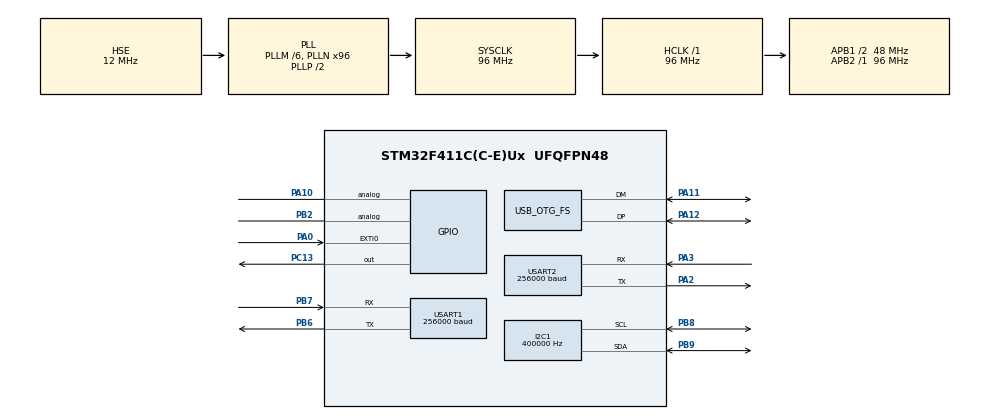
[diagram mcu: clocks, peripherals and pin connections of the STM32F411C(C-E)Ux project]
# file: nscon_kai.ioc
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Dma.I2C1_RX.0.Direction=DMA_PERIPH_TO_MEMORY
Dma.I2C1_RX.0.FIFOMode=DMA_FIFOMODE_DISABLE
Dma.I2C1_RX.0.Instance=DMA1_Stream0
Dma.I2C1_RX.0.MemDataAlignment=DMA_MDATAALIGN_BYTE
Dma.I2C1_RX.0.MemInc=DMA_MINC_ENABLE
Dma.I2C1_RX.0.Mode=DMA_NORMAL
Dma.I2C1_RX.0.PeriphDataAlignment=DMA_PDATAALIGN_BYTE
Dma.I2C1_RX.0.PeriphInc=DMA_PINC_DISABLE
Dma.I2C1_RX.0.Priority=DMA_PRIORITY_LOW
Dma.I2C1_TX.1.Direction=DMA_MEMORY_TO_PERIPH
Dma.I2C1_TX.1.FIFOMode=DMA_FIFOMODE_DISABLE
Dma.I2C1_TX.1.Instance=DMA1_Stream1
Dma.I2C1_TX.1.MemDataAlignment=DMA_MDATAALIGN_BYTE
Dma.I2C1_TX.1.MemInc=DMA_MINC_ENABLE
Dma.I2C1_TX.1.Mode=DMA_NORMAL
Dma.I2C1_TX.1.PeriphDataAlignment=DMA_PDATAALIGN_BYTE
Dma.I2C1_TX.1.PeriphInc=DMA_PINC_DISABLE
Dma.I2C1_TX.1.Priority=DMA_PRIORITY_LOW
Dma.Request0=I2C1_RX
Dma.Request1=I2C1_TX
Dma.Request2=USART1_RX
Dma.Request3=USART1_TX
Dma.Request4=USART2_RX
Dma.Request5=USART2_TX
Dma.USART1_RX.2.Direction=DMA_PERIPH_TO_MEMORY
Dma.USART1_RX.2.FIFOMode=DMA_FIFOMODE_DISABLE
Dma.USART1_RX.2.Instance=DMA2_Stream2
Dma.USART1_RX.2.MemDataAlignment=DMA_MDATAALIGN_BYTE
Dma.USART1_RX.2.MemInc=DMA_MINC_ENABLE
Dma.USART1_RX.2.Mode=DMA_NORMAL
Dma.USART1_RX.2.PeriphDataAlignment=DMA_PDATAALIGN_BYTE
Dma.USART1_RX.2.PeriphInc=DMA_PINC_DISABLE
Dma.USART1_RX.2.Priority=DMA_PRIORITY_LOW
Dma.USART1_TX.3.Direction=DMA_MEMORY_TO_PERIPH
Dma.USART1_TX.3.FIFOMode=DMA_FIFOMODE_DISABLE
Dma.USART1_TX.3.Instance=DMA2_Stream7
Dma.USART1_TX.3.MemDataAlignment=DMA_MDATAALIGN_BYTE
Dma.USART1_TX.3.MemInc=DMA_MINC_ENABLE
Dma.USART1_TX.3.Mode=DMA_NORMAL
Dma.USART1_TX.3.PeriphDataAlignment=DMA_PDATAALIGN_BYTE
Dma.USART1_TX.3.PeriphInc=DMA_PINC_DISABLE
Dma.USART1_TX.3.Priority=DMA_PRIORITY_LOW
Dma.USART2_RX.4.Direction=DMA_PERIPH_TO_MEMORY
Dma.USART2_RX.4.FIFOMode=DMA_FIFOMODE_DISABLE
Dma.USART2_RX.4.Instance=DMA1_Stream5
Dma.USART2_RX.4.MemDataAlignment=DMA_MDATAALIGN_BYTE
Dma.USART2_RX.4.MemInc=DMA_MINC_ENABLE
Dma.USART2_RX.4.Mode=DMA_NORMAL
Dma.USART2_RX.4.PeriphDataAlignment=DMA_PDATAALIGN_BYTE
Dma.USART2_RX.4.PeriphInc=DMA_PINC_DISABLE
Dma.USART2_RX.4.Priority=DMA_PRIORITY_LOW
Dma.USART2_TX.5.Direction=DMA_MEMORY_TO_PERIPH
Dma.USART2_TX.5.FIFOMode=DMA_FIFOMODE_DISABLE
Dma.USART2_TX.5.Instance=DMA1_Stream6
Dma.USART2_TX.5.MemDataAlignment=DMA_MDATAALIGN_BYTE
Dma.USART2_TX.5.MemInc=DMA_MINC_ENABLE
Dma.USART2_TX.5.Mode=DMA_NORMAL
Dma.USART2_TX.5.PeriphDataAlignment=DMA_PDATAALIGN_BYTE
Dma.USART2_TX.5.PeriphInc=DMA_PINC_DISABLE
Dma.USART2_TX.5.Priority=DMA_PRIORITY_LOW
I2C1.ClockSpeed=400000
I2C1.I2C_Mode=I2C_Fast
Mcu.Family=STM32F4
Mcu.Name=STM32F411C(C-E)Ux
Mcu.Package=UFQFPN48
NVIC.DMA1_Stream0_IRQn=true\:0\:0\:true\:false\:true\:false\:true
NVIC.DMA1_Stream1_IRQn=true\:0\:0\:true\:false\:true\:false\:true
NVIC.DMA1_Stream5_IRQn=true\:0\:0\:false\:false\:true\:false\:true
NVIC.DMA1_Stream6_IRQn=true\:0\:0\:false\:false\:true\:false\:true
NVIC.DMA2_Stream2_IRQn=true\:0\:0\:true\:false\:true\:false\:true
NVIC.DMA2_Stream7_IRQn=true\:0\:0\:true\:false\:true\:false\:true
NVIC.EXTI0_IRQn=true\:0\:0\:false\:false\:true\:true\:true
NVIC.I2C1_EV_IRQn=true\:0\:0\:true\:false\:true\:true\:true
NVIC.OTG_FS_IRQn=true\:1\:0\:true\:false\:true\:true\:true
NVIC.PriorityGroup=NVIC_PRIORITYGROUP_4
NVIC.TIM1_TRG_COM_TIM11_IRQn=true\:0\:0\:false\:false\:true\:true\:true
NVIC.TIM1_UP_TIM10_IRQn=true\:0\:0\:false\:false\:true\:true\:true
NVIC.USART1_IRQn=true\:0\:0\:true\:false\:true\:true\:true
NVIC.USART2_IRQn=true\:0\:0\:false\:false\:true\:true\:true
PA0-WKUP.Signal=GPXTI0
PA10.Signal=GPIO_Analog
PA11.Mode=Device_Only
PA11.Signal=USB_OTG_FS_DM
PA12.Mode=Device_Only
PA12.Signal=USB_OTG_FS_DP
PA13.Mode=JTAG_4_pins
PA13.Signal=SYS_JTMS-SWDIO
PA14.Mode=JTAG_4_pins
PA14.Signal=SYS_JTCK-SWCLK
PA15.Mode=JTAG_4_pins
PA15.Signal=SYS_JTDI
PA2.Mode=Asynchronous
PA2.Signal=USART2_TX
PA3.Mode=Asynchronous
PA3.Signal=USART2_RX
PB2.Signal=GPIO_Analog
PB3.Mode=JTAG_4_pins
PB3.Signal=SYS_JTDO-SWO
PB6.Mode=Asynchronous
PB6.Signal=USART1_TX
PB7.Mode=Asynchronous
PB7.Signal=USART1_RX
PB8.Mode=I2C
PB8.Signal=I2C1_SCL
PB9.Mode=I2C
PB9.Signal=I2C1_SDA
PC13-ANTI_TAMP.Signal=GPIO_Output
PC14-OSC32_IN.Mode=LSE-External-Clock-Source
PC14-OSC32_IN.Signal=RCC_OSC32_IN
PC15-OSC32_OUT.Mode=LSE-External-Clock-Source
PC15-OSC32_OUT.Signal=RCC_OSC32_OUT
PH0\ -\ OSC_IN.Mode=HSE-External-Clock-Source
PH0\ -\ OSC_IN.Signal=RCC_OSC_IN
PH1\ -\ OSC_OUT.Mode=HSE-External-Clock-Source
PH1\ -\ OSC_OUT.Signal=RCC_OSC_OUT
ProjectManager.HeapSize=0x200
ProjectManager.StackSize=0x400
ProjectManager.TargetToolchain=MDK-ARM V5.27
RCC.48MHZClocksFreq_Value=48000000
RCC.AHBFreq_Value=96000000
RCC.APB1CLKDivider=RCC_HCLK_DIV2
RCC.APB1Freq_Value=48000000
RCC.APB1TimFreq_Value=96000000
RCC.APB2Freq_Value=96000000
RCC.APB2TimFreq_Value=96000000
RCC.CortexFreq_Value=96000000
RCC.EnbaleCSS=true
RCC.HCLKFreq_Value=96000000
RCC.HSE_VALUE=12000000
RCC.HSI_VALUE=16000000
RCC.LSE_VALUE=32768
RCC.PLLM=6
RCC.PLLN=96
RCC.SYSCLKFreq_VALUE=96000000
RCC.SYSCLKSource=RCC_SYSCLKSOURCE_PLLCLK
RCC.VCOOutputFreq_Value=192000000
TIM10.AutoReloadPreload=TIM_AUTORELOAD_PRELOAD_ENABLE
TIM10.Period=909-1
TIM10.Prescaler=480-1
TIM11.AutoReloadPreload=TIM_AUTORELOAD_PRELOAD_ENABLE
TIM11.Period=1000-1
TIM11.Prescaler=960-1
USART1.BaudRate=256000
USART1.Parity=PARITY_NONE
USART1.VirtualMode=VM_ASYNC
USART1.WordLength=WORDLENGTH_8B
USART2.BaudRate=256000
USART2.Parity=PARITY_NONE
USART2.VirtualMode=VM_ASYNC
USART2.WordLength=WORDLENGTH_8B
USB_OTG_FS.VirtualMode=Device_Only
VP_TIM10_VS_ClockSourceINT.Mode=Enable_Timer
VP_TIM11_VS_ClockSourceINT.Mode=Enable_Timer
board=custom

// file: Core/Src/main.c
/* USER CODE BEGIN Header */
/**
  ******************************************************************************
  * @file           : main.c
  * @brief          : Main program body
  ******************************************************************************
  * @attention
  *
  * <h2><center>&copy; Copyright (c) 2020 STMicroelectronics.
  * All rights reserved.</center></h2>
  *
  * This software component is licensed by ST under BSD 3-Clause license,
  * the "License"; You may not use this file except in compliance with the
  * License. You may obtain a copy of the License at:
  *                        opensource.org/licenses/BSD-3-Clause
  *
  ******************************************************************************
  */
/* USER CODE END Header */

#include "main.h"
#include "dma.h"
#include "i2c.h"
#include "tim.h"
#include "usart.h"
#include "usb_otg.h"
#include "gpio.h"

/* USER CODE BEGIN Includes */
#include "sw_usb_device_lib.h"
#include "nscon_device.h"
#include "SteamToNS.h"
/* USER CODE END Includes */

/* USER CODE BEGIN PV */
__ALIGN_BEGIN static STEAM_Report_TypeDef steam __ALIGN_END;
__ALIGN_BEGIN static NSCON_Report_TypeDef ns __ALIGN_END;
/* USER CODE END PV */

void SystemClock_Config(void);

/* USER CODE BEGIN 0 */
void HAL_TIM_PeriodElapsedCallback(TIM_HandleTypeDef *htim){
	if(htim == &htim10){
		nscon_seq_timmer_callback();
	} else if(htim == &htim11){

	}
}
void HAL_GPIO_EXTI_Callback(uint16_t GPIO_Pin){

}
void HAL_UART_RxCpltCallback(UART_HandleTypeDef *huart){
	nscon_copy_report(steamtons(&steam));
	HAL_UART_Receive_DMA(&huart2, steam.array, sizeof(steam));
}
/* USER CODE END 0 */

int main(void)
{

  /* MCU Configuration--------------------------------------------------------*/

  /* Reset of all peripherals, Initializes the Flash interface and the Systick. */
  HAL_Init();

  /* Configure the system clock */
  SystemClock_Config();

  /* Initialize all configured peripherals */
  MX_GPIO_Init();
  MX_DMA_Init();
  MX_I2C1_Init();
  MX_USART1_UART_Init();
  MX_USB_OTG_FS_PCD_Init();
  MX_USART2_UART_Init();
  MX_TIM10_Init();
  MX_TIM11_Init();
  /* USER CODE BEGIN 2 */
	nscon_init(&hpcd_USB_OTG_FS);
	HAL_TIM_Base_Start_IT(&htim10);
	//HAL_TIM_Base_Start_IT(&htim11);
	HAL_UART_Receive_DMA(&huart2, steam.array, sizeof(steam));
  /* USER CODE END 2 */

  /* Infinite loop */
  while (1)
  {

  }
}

void SystemClock_Config(void)
{
  RCC_OscInitTypeDef RCC_OscInitStruct = {0};
  RCC_ClkInitTypeDef RCC_ClkInitStruct = {0};

  /** Configure the main internal regulator output voltage
  */
  __HAL_RCC_PWR_CLK_ENABLE();
  __HAL_PWR_VOLTAGESCALING_CONFIG(PWR_REGULATOR_VOLTAGE_SCALE1);
  /** Initializes the CPU, AHB and APB busses clocks
  */
  RCC_OscInitStruct.OscillatorType = RCC_OSCILLATORTYPE_HSE;
  RCC_OscInitStruct.HSEState = RCC_HSE_BYPASS;
  RCC_OscInitStruct.PLL.PLLState = RCC_PLL_ON;
  RCC_OscInitStruct.PLL.PLLSource = RCC_PLLSOURCE_HSE;
  RCC_OscInitStruct.PLL.PLLM = 6;
  RCC_OscInitStruct.PLL.PLLN = 96;
  RCC_OscInitStruct.PLL.PLLP = RCC_PLLP_DIV2;
  RCC_OscInitStruct.PLL.PLLQ = 4;
  if (HAL_RCC_OscConfig(&RCC_OscInitStruct) != HAL_OK)
  {
    Error_Handler();
  }
  /** Initializes the CPU, AHB and APB busses clocks
  */
  RCC_ClkInitStruct.ClockType = RCC_CLOCKTYPE_HCLK|RCC_CLOCKTYPE_SYSCLK
                              |RCC_CLOCKTYPE_PCLK1|RCC_CLOCKTYPE_PCLK2;
  RCC_ClkInitStruct.SYSCLKSource = RCC_SYSCLKSOURCE_PLLCLK;
  RCC_ClkInitStruct.AHBCLKDivider = RCC_SYSCLK_DIV1;
  RCC_ClkInitStruct.APB1CLKDivider = RCC_HCLK_DIV2;
  RCC_ClkInitStruct.APB2CLKDivider = RCC_HCLK_DIV1;

  if (HAL_RCC_ClockConfig(&RCC_ClkInitStruct, FLASH_LATENCY_3) != HAL_OK)
  {
    Error_Handler();
  }
  /** Enables the Clock Security System
  */
  HAL_RCC_EnableCSS();
}

void Error_Handler(void)
{
}

/************************ (C) COPYRIGHT STMicroelectronics *****END OF FILE****/
